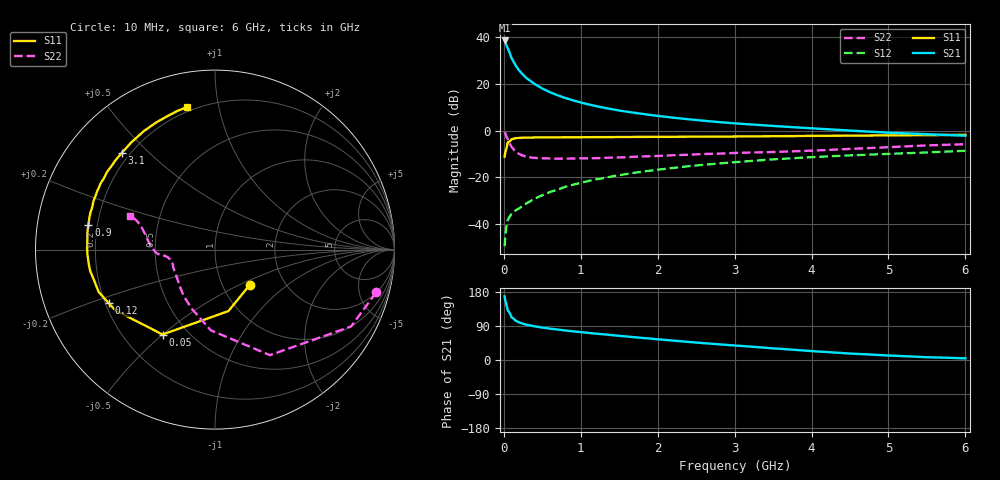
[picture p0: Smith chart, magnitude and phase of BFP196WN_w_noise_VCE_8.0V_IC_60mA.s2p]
! Infineon Technologies  Discrete & RF Semiconductors
! BFP196WN
! VCE =  8.0 V,  IC =  60 mA
! Common Emitter S-Parameters:  Jan 2017
# GHz  S  MA  R  50
!  f  S11  S21  S12  S22
! GHz  MAG  ANG  MAG  ANG  MAG  ANG  MAG  ANG
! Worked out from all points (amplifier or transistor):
!   77 points, 10 MHz to 6 GHz, reference 50 ohm
!   highest |S21| = 38.7 dB at 10 MHz (marker M1)
!   |S21| within 3 dB of that: start of sweep to 46.01 MHz
!   unconditionally stable (mu >= 1): 615.6 MHz to 2.629 GHz
!   at 130 MHz: K = 0.56, MSG = 32.2 dB, |S12| = -34.9 dB
!   at 2.2 GHz: K = 1.02, MAG = 9.9 dB, |S12| = -16.0 dB
!   at 6 GHz: K = 0.90, MSG = 3.2 dB, |S12| = -8.7 dB
!   lowest NFmin = 1.38 dB at 450 MHz
!   S11 on the Smith chart (normalised r, x): 10 MHz: 1.35, -0.57; 50 MHz: 0.36, -0.50; 120 MHz: 0.21, -0.23; 900 MHz: 0.17, +0.09; 3.1 GHz: 0.17, +0.42; 6 GHz: 0.17, +0.81
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0.01  0.2759 -45.1  86.19 167.9  0.0033 82.5  0.929 -14.9
0.02  0.3506 -77.7  78.75 155.8  0.006 72.9  0.8712 -29.4
0.05  0.556 -121.7  59.01 131.4  0.012 54.8  0.663 -62.5
0.1  0.6501 -148.6  36.1 112.8  0.0162 50.4  0.4502 -93.0
0.12  0.6628 -153.3  31.78 110.1  0.0174 50.1  0.4077 -99.2
0.15  0.6897 -159.9  25.49 104.2  0.0191 49.8  0.3553 -111.0
0.2  0.6957 -166.2  19.45 99.1  0.0214 53.9  0.3139 -123.3
0.25  0.7057 -170.4  15.71 95.5  0.0247 57.2  0.2896 -131.4
0.3  0.708 -173.6  13.18 92.9  0.0277 58.5  0.2727 -138.3
0.4  0.7114 -178.1  9.971 88.7  0.0343 62.8  0.2595 -146.8
0.5  0.7128 178.5  7.99 85.5  0.041 65.2  0.2549 -152.8
0.6  0.7131 175.8  6.675 82.7  0.048 66.9  0.2523 -157.2
0.7  0.7158 173.4  5.718 80.4  0.0543 68.4  0.2492 -160.0
0.8  0.7185 171.0  5.01 77.8  0.0619 68.8  0.25 -162.2
0.9  0.7185 168.9  4.447 75.6  0.0689 69.0  0.2519 -164.0
1.1  0.7226 165.2  3.652 71.5  0.0828 68.7  0.2541 -167.0
1.5  0.7287 158.4  2.701 63.8  0.1103 67.5  0.2654 -170.8
2.1  0.7358 148.8  1.981 53.0  0.1513 63.8  0.2908 -173.7
3.1  0.7481 133.9  1.395 36.9  0.2159 55.9  0.3344 -178.1
4.1  0.7716 119.6  1.095 22.2  0.2737 47.4  0.3773 172.1
5.1  0.7909 108.9  0.888 11.0  0.3207 39.9  0.4481 160.9
6  0.8105 100.9  0.776 4.4  0.3684 33.9  0.5101 158.2
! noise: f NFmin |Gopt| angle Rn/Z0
0.45  1.38  0.55  -177  0.05
0.9  1.49  0.57  -169  0.06
1.9  2.42  0.69  -147  0.18
2.4  3.19  0.7  -139  0.3
